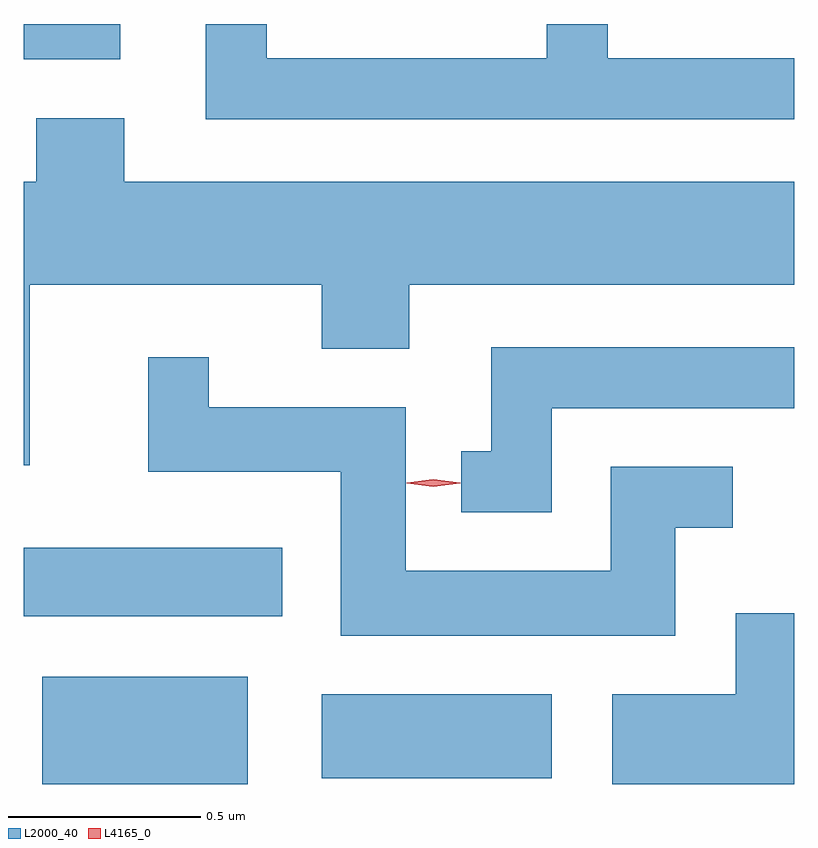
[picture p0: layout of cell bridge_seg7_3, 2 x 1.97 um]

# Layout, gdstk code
import gdstk
lib = gdstk.Library(unit=1e-6, precision=1e-09)
def R(c, l, rs):  # rectangles x0, y0, x1, y1
    for r in rs: c.add(gdstk.rectangle(r[:2], r[2:], *l))
def P(c, l, *ps):  # polygons
    for p in ps: c.add(gdstk.Polygon(p, *l))
L2000_40 = (2000, 40)
L4165_0 = (4165, 0)

bridge_seg7_3 = lib.new_cell('bridge_seg7_3')
R(bridge_seg7_3, L2000_40, [(1687.496,1792.941,1688.029,1793.219), (1688.221,1792.956,1688.819,1793.174), (1687.448,1793.376,1688.119,1793.554), (1687.448,1794.821,1687.699,1794.913)])
P(bridge_seg7_3, L2000_40, [(1689.448,1794.824),(1688.964,1794.824),(1688.964,1794.913),(1688.806,1794.913),(1688.806,1794.824),(1688.079,1794.824),(1688.079,1794.913),(1687.921,1794.913),(1687.921,1794.666),(1689.448,1794.666)],
  [(1687.464,1794.236),(1688.221,1794.236),(1688.221,1794.071),(1688.449,1794.071),(1688.449,1794.236),(1689.448,1794.236),(1689.448,1794.504),(1687.709,1794.504),(1687.709,1794.669),(1687.481,1794.669),(1687.481,1794.504),(1687.448,1794.504),(1687.448,1793.768),(1687.464,1793.768)],
  [(1688.819,1793.916),(1689.448,1793.916),(1689.448,1794.074),(1688.661,1794.074),(1688.661,1793.804),(1688.583,1793.804),(1688.583,1793.646),(1688.819,1793.646)],
  [(1689.139,1793.606),(1689.288,1793.606),(1689.288,1793.764),(1688.971,1793.764),(1688.971,1793.494),(1688.439,1793.494),(1688.439,1793.919),(1687.929,1793.919),(1687.929,1794.048),(1687.771,1794.048),(1687.771,1793.751),(1688.271,1793.751),(1688.271,1793.326),(1689.139,1793.326)],
  [(1689.448,1793.384),(1689.296,1793.384),(1689.296,1793.174),(1688.976,1793.174),(1688.976,1792.941),(1689.448,1792.941)])
P(bridge_seg7_3, L4165_0, [(1688.511,1793.712),(1688.442,1793.722),(1688.442,1793.722),(1688.442,1793.723),(1688.511,1793.732),(1688.581,1793.723),(1688.581,1793.723),(1688.581,1793.722)])

lib.write_gds('bridge_seg7_3.gds')
